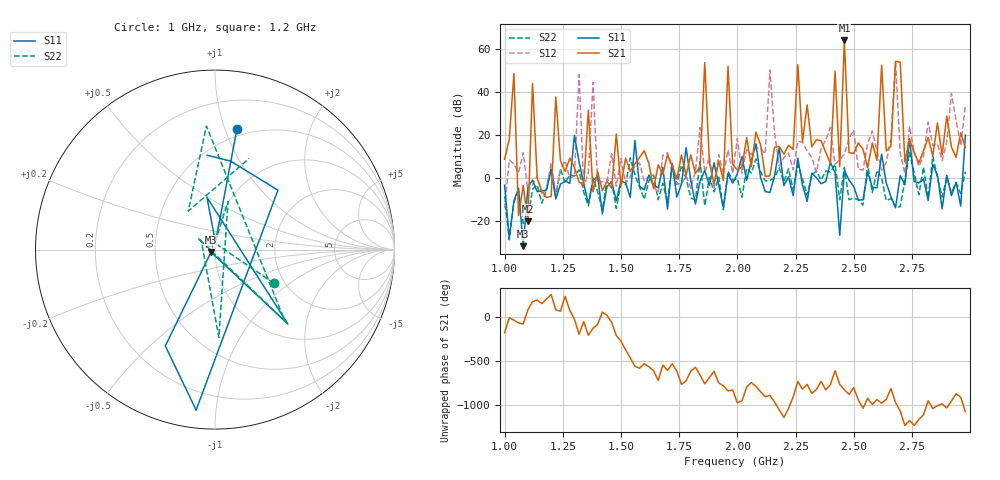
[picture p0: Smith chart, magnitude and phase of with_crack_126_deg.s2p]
# MHz S MA R 50
!  freq  S11  S21  S12  S22
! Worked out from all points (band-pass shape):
!   100 points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, 1 GHz to 2.98 GHz, reference 50 ohm
!   highest |S21| = 64.01 dB at 2.46 GHz (marker M1); lowest = -20.1 dB at 1.1 GHz (marker M2)
!   |S21| within 3 dB of the highest: 2.458978 GHz to 2.461151 GHz (2.173 MHz wide, 0.0883 % of centre)
!   lowest |S11| = -31.7 dB at 1.08 GHz (marker M3), VSWR 1.05, Z = 47.8 - j1.33 ohm
!   |S11| at or under -10 dB: 1.005 GHz to 1.042 GHz (36.61 MHz wide, 3.58 % of centre); 1.064 GHz to 1.096 GHz (31.96 MHz wide, 2.96 % of centre); 2.52 GHz to 2.54 GHz (20.66 MHz wide, 0.817 % of centre) (the widest 3 of 15)
!   |S22| runs from -28.7 to 12.0 dB; largest |S21 - S12| = 1.6e+03
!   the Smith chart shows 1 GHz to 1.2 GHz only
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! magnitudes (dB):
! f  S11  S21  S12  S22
! 1 GHz  -3.3  8.8  -14.1  -8.4
! 1.04 GHz  -10.6  48.6  6.5  -11.1
! 1.08 GHz  -31.7  -3.4  11.8  -21.1
! 1.1 GHz  -4.4  -20.1  -5.9  -19.0
! 1.12 GHz  -0.9  44.1  -3.1  -5.1
! 1.32 GHz  7.6  -1.8  48.1  3.8
! 1.34 GHz  -2.7  -3.1  -4.4  -6.6
! 1.38 GHz  -1.3  -6.4  44.6  0.1
! 1.4 GHz  0.9  2.9  -2.6  -6.4
! 1.66 GHz  -4.5  6.1  -6.8  -10.1
! 1.84 GHz  -1.3  5.4  23.5  7.6
! 1.86 GHz  3.5  53.7  2.4  -12.9
! 1.9 GHz  7.1  -2.6  -5.0  -6.4
! 1.96 GHz  2.0  52.0  13.1  3.2
! 2 GHz  2.0  3.8  18.4  -0.2
! 2.32 GHz  2.3  14.6  9.6  1.5
! 2.42 GHz  2.5  49.7  6.5  6.5
! 2.44 GHz  -26.6  5.3  8.4  -10.1
! 2.46 GHz  3.6  64.0  11.1  4.9
! 2.48 GHz  -0.9  11.9  18.5  -10.1
! 2.66 GHz  -8.6  14.7  18.6  -9.5
! 2.98 GHz  19.9  14.3  34.0  3.0
